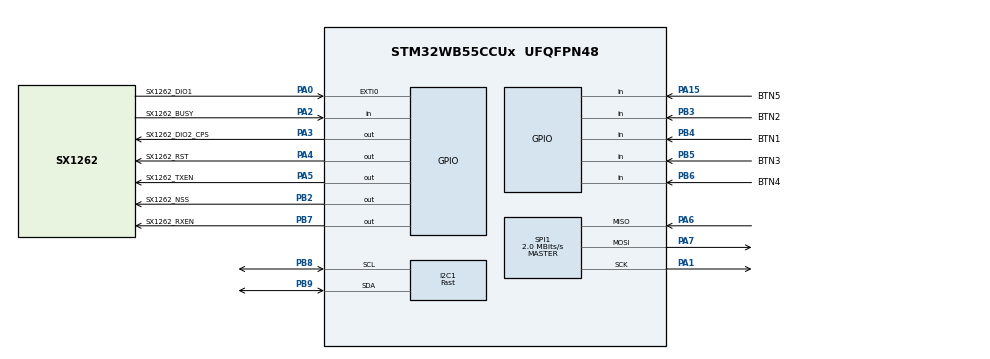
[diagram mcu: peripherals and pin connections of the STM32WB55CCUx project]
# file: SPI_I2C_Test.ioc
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I2C1.I2C_Speed_Mode=I2C_Fast
I2C1.Timing=0x00000003
Mcu.Family=STM32WB
Mcu.Name=STM32WB55CCUx
Mcu.Package=UFQFPN48
NVIC.PriorityGroup=NVIC_PRIORITYGROUP_4
OSC_IN.Mode=HSE-External-Oscillator
OSC_IN.Signal=RCC_OSC_IN
OSC_OUT.Mode=HSE-External-Oscillator
OSC_OUT.Signal=RCC_OSC_OUT
PA0.GPIO_Label=SX1262_DIO1
PA0.Signal=GPXTI0
PA1.Mode=Full_Duplex_Master
PA1.Signal=SPI1_SCK
PA15.GPIO_Label=BTN5
PA15.Signal=GPIO_Input
PA2.GPIO_Label=SX1262_BUSY
PA2.Signal=GPIO_Input
PA3.GPIO_Label=SX1262_DIO2_CPS
PA3.Signal=GPIO_Output
PA4.GPIO_Label=SX1262_RST
PA4.PinState=GPIO_PIN_SET
PA4.Signal=GPIO_Output
PA5.GPIO_Label=SX1262_TXEN
PA5.Signal=GPIO_Output
PA6.Mode=Full_Duplex_Master
PA6.Signal=SPI1_MISO
PA7.Mode=Full_Duplex_Master
PA7.Signal=SPI1_MOSI
PB2.GPIO_Label=SX1262_NSS
PB2.PinState=GPIO_PIN_SET
PB2.Signal=GPIO_Output
PB3.GPIO_Label=BTN2
PB3.Signal=GPIO_Input
PB4.GPIO_Label=BTN1
PB4.Signal=GPIO_Input
PB5.GPIO_Label=BTN3
PB5.Signal=GPIO_Input
PB6.GPIO_Label=BTN4
PB6.Signal=GPIO_Input
PB7.GPIO_Label=SX1262_RXEN
PB7.Signal=GPIO_Output
PB8.Mode=I2C
PB8.Signal=I2C1_SCL
PB9.Mode=I2C
PB9.Signal=I2C1_SDA
PC14-OSC32_IN.Mode=LSE-External-Oscillator
PC14-OSC32_IN.Signal=RCC_OSC32_IN
PC15-OSC32_OUT.Mode=LSE-External-Oscillator
PC15-OSC32_OUT.Signal=RCC_OSC32_OUT
ProjectManager.HeapSize=0x200
ProjectManager.StackSize=0x400
ProjectManager.TargetToolchain=STM32CubeIDE
RCC.APB3Freq_Value=4000000
RCC.HSE_VALUE=8000000
RCC.HSI48_VALUE=48000000
RCC.HSI_VALUE=16000000
RCC.VCOOutputFreq_Value=32000000
SPI1.CalculateBaudRate=2.0 MBits/s
SPI1.DataSize=SPI_DATASIZE_8BIT
SPI1.Direction=SPI_DIRECTION_2LINES
SPI1.Mode=SPI_MODE_MASTER
SPI1.VirtualType=VM_MASTER
VP_MEMORYMAP_VS_MEMORYMAP.Mode=CurAppReg
board=custom

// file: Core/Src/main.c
/* USER CODE BEGIN Header */
/**
  ******************************************************************************
  * @file           : main.c
  * @brief          : Main program body
  ******************************************************************************
  * @attention
  *
  * Copyright (c) 2026 STMicroelectronics.
  * All rights reserved.
  *
  * This software is licensed under terms that can be found in the LICENSE file
  * in the root directory of this software component.
  * If no LICENSE file comes with this software, it is provided AS-IS.
  *
  ******************************************************************************
  */
/* USER CODE END Header */
#include "main.h"

/* USER CODE BEGIN Includes */
#include "ssd1306.h"
#include "board_sx126x_calls.h"
#include <stdio.h>
/* USER CODE END Includes */

I2C_HandleTypeDef hi2c1;

SPI_HandleTypeDef hspi1;

void SystemClock_Config(void);
void PeriphCommonClock_Config(void);
static void MX_GPIO_Init(void);
static void MX_I2C1_Init(void);
static void MX_SPI1_Init(void);

/* USER CODE BEGIN 0 */
volatile uint8_t display_toggle = 1;
char oled_buffer[24];
int BLE_R = 0;
int BLE_M = 0;
int BLE_Dis = 1;
uint32_t now;
uint32_t last_update = 0;
const uint32_t update_interval = 1000;
/* USER CODE END 0 */

int main(void)
{

  /* MCU Configuration--------------------------------------------------------*/

  /* Reset of all peripherals, Initializes the Flash interface and the Systick. */
  HAL_Init();

  /* Configure the system clock */
  SystemClock_Config();

  /* Configure the peripherals common clocks */
  PeriphCommonClock_Config();

  /* Initialize all configured peripherals */
  MX_GPIO_Init();
  MX_I2C1_Init();
  MX_SPI1_Init();
  /* USER CODE BEGIN 2 */

  // setting up the OLED first so I can display error messages on it
	SSD1306_Init();
	SSD1306_Clear();
	SSD1306_GotoXY(0, 0);
	SSD1306_Puts("SX1262 Debug:", &Font_7x10, 1);
	SSD1306_UpdateScreen();

	if(setup_22dBm_Tx(NULL) != SX126X_STATUS_OK){									// here we call the 22dBm setup and check it returns STATUS OK
		SSD1306_Clear();
		snprintf(oled_buffer, sizeof(oled_buffer), "Error: setup_22dBm_Tx()");		// print an error to the user if STATUS NOT OK
		SSD1306_GotoXY(0,0);
		SSD1306_Puts(oled_buffer, &Font_7x10, 1);
		SSD1306_UpdateScreen();
		while(1){}																	// hold here indefinitely
	}

	if(rfswitch_Tx(NULL) != SX126X_STATUS_OK){										// here we call rfswitch_TX and check it returns STATUS OK
		SSD1306_Clear();
		snprintf(oled_buffer, sizeof(oled_buffer), "Error: rfswitch_Tx()");			// print an error to the user if STATUS NOT OK
		SSD1306_GotoXY(0,0);
		SSD1306_Puts(oled_buffer, &Font_7x10, 1);
		SSD1306_UpdateScreen();
		while(1){}																	// hold here indefinitely
	}

  	HAL_Delay(100);																	// 100ms delay is here to allow the chip some time after config

  	if(sx126x_set_tx_cw(NULL) != SX126X_STATUS_OK){
		SSD1306_Clear();
		snprintf(oled_buffer, sizeof(oled_buffer), "Error: sx126x_set_tx_cw");		// print an error to the user if STATUS NOT OK
		SSD1306_GotoXY(0,0);
		SSD1306_Puts(oled_buffer, &Font_7x10, 1);
		SSD1306_UpdateScreen();
		while(1){}																	// hold here indefinitely
  	}

	rfswitch_Rx(NULL); //turn on the working mode

	SSD1306_Clear();
	snprintf(oled_buffer, sizeof(oled_buffer), "Transmitting ASF");				// display current RF switch state on the OLED
	SSD1306_GotoXY(0,0);
	SSD1306_Puts(oled_buffer, &Font_7x10, 1);
	SSD1306_UpdateScreen();

  /* USER CODE END 2 */

  /* Infinite loop */
  while (1)
  {

	// try this one first, comment it out when not using
/*
	rfswitch_Tx(NULL);																// toggle the internal RF switch state (PN: RTC6603SP)

	SSD1306_Clear();
	snprintf(oled_buffer, sizeof(oled_buffer), "rfswitch_Tx(NULL)");				// display current RF switch state on the OLED
	SSD1306_GotoXY(0,0);
	SSD1306_Puts(oled_buffer, &Font_7x10, 1);
	SSD1306_UpdateScreen();
	HAL_Delay(1000);																// 1 sec delay
*/

																// toggle the internal RF switch to the other state (PN: RTC6603SP)
/*
  	rfswitch_Rx(NULL);

	SSD1306_Clear();
	snprintf(oled_buffer, sizeof(oled_buffer), "rfswitch_Rx(NULL)");				// display current RF switch state on the OLED
	SSD1306_GotoXY(0,0);
	SSD1306_Puts(oled_buffer, &Font_7x10, 1);
	SSD1306_UpdateScreen();
*/
	HAL_Delay(1000);																// 1 sec delay

	  	  // this should do something regardless if the RF switch toggling is the current issue we are having. Toggling the switch state will isolate the RF output from the sx1262 chip from out external RF port on the core1262HF package, so going back and forth
	  	  // between states has to cause a change in the output. If the output power during one of the states is what we were seeing on 10/21 (i.e. the -10 dBm or so of power) and during the other state is the expected +22dBm, then booyah balright! o.w. if one of
	  	  // the states is higher power but not +22dBm then the issue is elsewhere

  }
}

void SystemClock_Config(void)
{
  RCC_OscInitTypeDef RCC_OscInitStruct = {0};
  RCC_ClkInitTypeDef RCC_ClkInitStruct = {0};

  /** Configure the main internal regulator output voltage
  */
  __HAL_PWR_VOLTAGESCALING_CONFIG(PWR_REGULATOR_VOLTAGE_SCALE1);

  /** Initializes the RCC Oscillators according to the specified parameters
  * in the RCC_OscInitTypeDef structure.
  */
  RCC_OscInitStruct.OscillatorType = RCC_OSCILLATORTYPE_HSI|RCC_OSCILLATORTYPE_HSE
                              |RCC_OSCILLATORTYPE_MSI;
  RCC_OscInitStruct.HSEState = RCC_HSE_ON;
  RCC_OscInitStruct.HSIState = RCC_HSI_ON;
  RCC_OscInitStruct.MSIState = RCC_MSI_ON;
  RCC_OscInitStruct.HSICalibrationValue = RCC_HSICALIBRATION_DEFAULT;
  RCC_OscInitStruct.MSICalibrationValue = RCC_MSICALIBRATION_DEFAULT;
  RCC_OscInitStruct.MSIClockRange = RCC_MSIRANGE_6;
  RCC_OscInitStruct.PLL.PLLState = RCC_PLL_NONE;
  if (HAL_RCC_OscConfig(&RCC_OscInitStruct) != HAL_OK)
  {
    Error_Handler();
  }

  /** Configure the SYSCLKSource, HCLK, PCLK1 and PCLK2 clocks dividers
  */
  RCC_ClkInitStruct.ClockType = RCC_CLOCKTYPE_HCLK4|RCC_CLOCKTYPE_HCLK2
                              |RCC_CLOCKTYPE_HCLK|RCC_CLOCKTYPE_SYSCLK
                              |RCC_CLOCKTYPE_PCLK1|RCC_CLOCKTYPE_PCLK2;
  RCC_ClkInitStruct.SYSCLKSource = RCC_SYSCLKSOURCE_MSI;
  RCC_ClkInitStruct.AHBCLKDivider = RCC_SYSCLK_DIV1;
  RCC_ClkInitStruct.APB1CLKDivider = RCC_HCLK_DIV1;
  RCC_ClkInitStruct.APB2CLKDivider = RCC_HCLK_DIV1;
  RCC_ClkInitStruct.AHBCLK2Divider = RCC_SYSCLK_DIV1;
  RCC_ClkInitStruct.AHBCLK4Divider = RCC_SYSCLK_DIV1;

  if (HAL_RCC_ClockConfig(&RCC_ClkInitStruct, FLASH_LATENCY_0) != HAL_OK)
  {
    Error_Handler();
  }
}

void PeriphCommonClock_Config(void)
{
  RCC_PeriphCLKInitTypeDef PeriphClkInitStruct = {0};

  /** Initializes the peripherals clock
  */
  PeriphClkInitStruct.PeriphClockSelection = RCC_PERIPHCLK_SMPS;
  PeriphClkInitStruct.SmpsClockSelection = RCC_SMPSCLKSOURCE_HSI;
  PeriphClkInitStruct.SmpsDivSelection = RCC_SMPSCLKDIV_RANGE1;

  if (HAL_RCCEx_PeriphCLKConfig(&PeriphClkInitStruct) != HAL_OK)
  {
    Error_Handler();
  }
}

static void MX_I2C1_Init(void)
{

  hi2c1.Instance = I2C1;
  hi2c1.Init.Timing = 0x00000003;
  hi2c1.Init.OwnAddress1 = 0;
  hi2c1.Init.AddressingMode = I2C_ADDRESSINGMODE_7BIT;
  hi2c1.Init.DualAddressMode = I2C_DUALADDRESS_DISABLE;
  hi2c1.Init.OwnAddress2 = 0;
  hi2c1.Init.OwnAddress2Masks = I2C_OA2_NOMASK;
  hi2c1.Init.GeneralCallMode = I2C_GENERALCALL_DISABLE;
  hi2c1.Init.NoStretchMode = I2C_NOSTRETCH_DISABLE;
  if (HAL_I2C_Init(&hi2c1) != HAL_OK)
  {
    Error_Handler();
  }

  /** Configure Analogue filter
  */
  if (HAL_I2CEx_ConfigAnalogFilter(&hi2c1, I2C_ANALOGFILTER_ENABLE) != HAL_OK)
  {
    Error_Handler();
  }

  /** Configure Digital filter
  */
  if (HAL_I2CEx_ConfigDigitalFilter(&hi2c1, 0) != HAL_OK)
  {
    Error_Handler();
  }

}

static void MX_SPI1_Init(void)
{

  /* SPI1 parameter configuration*/
  hspi1.Instance = SPI1;
  hspi1.Init.Mode = SPI_MODE_MASTER;
  hspi1.Init.Direction = SPI_DIRECTION_2LINES;
  hspi1.Init.DataSize = SPI_DATASIZE_8BIT;
  hspi1.Init.CLKPolarity = SPI_POLARITY_LOW;
  hspi1.Init.CLKPhase = SPI_PHASE_1EDGE;
  hspi1.Init.NSS = SPI_NSS_SOFT;
  hspi1.Init.BaudRatePrescaler = SPI_BAUDRATEPRESCALER_2;
  hspi1.Init.FirstBit = SPI_FIRSTBIT_MSB;
  hspi1.Init.TIMode = SPI_TIMODE_DISABLE;
  hspi1.Init.CRCCalculation = SPI_CRCCALCULATION_DISABLE;
  hspi1.Init.CRCPolynomial = 7;
  hspi1.Init.CRCLength = SPI_CRC_LENGTH_DATASIZE;
  hspi1.Init.NSSPMode = SPI_NSS_PULSE_ENABLE;
  if (HAL_SPI_Init(&hspi1) != HAL_OK)
  {
    Error_Handler();
  }

}

static void MX_GPIO_Init(void)
{
  GPIO_InitTypeDef GPIO_InitStruct = {0};

  /* GPIO Ports Clock Enable */
  __HAL_RCC_GPIOC_CLK_ENABLE();
  __HAL_RCC_GPIOB_CLK_ENABLE();
  __HAL_RCC_GPIOA_CLK_ENABLE();

  /*Configure GPIO pin Output Level */
  HAL_GPIO_WritePin(GPIOA, SX1262_DIO2_CPS_Pin|SX1262_TXEN_Pin, GPIO_PIN_RESET);

  /*Configure GPIO pin Output Level */
  HAL_GPIO_WritePin(SX1262_RST_GPIO_Port, SX1262_RST_Pin, GPIO_PIN_SET);

  /*Configure GPIO pin Output Level */
  HAL_GPIO_WritePin(SX1262_NSS_GPIO_Port, SX1262_NSS_Pin, GPIO_PIN_SET);

  /*Configure GPIO pin Output Level */
  HAL_GPIO_WritePin(SX1262_RXEN_GPIO_Port, SX1262_RXEN_Pin, GPIO_PIN_RESET);

  /*Configure GPIO pin : SX1262_DIO1_Pin */
  GPIO_InitStruct.Pin = SX1262_DIO1_Pin;
  GPIO_InitStruct.Mode = GPIO_MODE_IT_RISING;
  GPIO_InitStruct.Pull = GPIO_NOPULL;
  HAL_GPIO_Init(SX1262_DIO1_GPIO_Port, &GPIO_InitStruct);

  /*Configure GPIO pins : SX1262_BUSY_Pin BTN5_Pin */
  GPIO_InitStruct.Pin = SX1262_BUSY_Pin|BTN5_Pin;
  GPIO_InitStruct.Mode = GPIO_MODE_INPUT;
  GPIO_InitStruct.Pull = GPIO_NOPULL;
  HAL_GPIO_Init(GPIOA, &GPIO_InitStruct);

  /*Configure GPIO pins : SX1262_DIO2_CPS_Pin SX1262_RST_Pin SX1262_TXEN_Pin */
  GPIO_InitStruct.Pin = SX1262_DIO2_CPS_Pin|SX1262_RST_Pin|SX1262_TXEN_Pin;
  GPIO_InitStruct.Mode = GPIO_MODE_OUTPUT_PP;
  GPIO_InitStruct.Pull = GPIO_NOPULL;
  GPIO_InitStruct.Speed = GPIO_SPEED_FREQ_LOW;
  HAL_GPIO_Init(GPIOA, &GPIO_InitStruct);

  /*Configure GPIO pins : SX1262_NSS_Pin SX1262_RXEN_Pin */
  GPIO_InitStruct.Pin = SX1262_NSS_Pin|SX1262_RXEN_Pin;
  GPIO_InitStruct.Mode = GPIO_MODE_OUTPUT_PP;
  GPIO_InitStruct.Pull = GPIO_NOPULL;
  GPIO_InitStruct.Speed = GPIO_SPEED_FREQ_LOW;
  HAL_GPIO_Init(GPIOB, &GPIO_InitStruct);

  /*Configure GPIO pins : BTN2_Pin BTN1_Pin BTN3_Pin BTN4_Pin */
  GPIO_InitStruct.Pin = BTN2_Pin|BTN1_Pin|BTN3_Pin|BTN4_Pin;
  GPIO_InitStruct.Mode = GPIO_MODE_INPUT;
  GPIO_InitStruct.Pull = GPIO_NOPULL;
  HAL_GPIO_Init(GPIOB, &GPIO_InitStruct);

}

void Error_Handler(void)
{
  __disable_irq();
  while (1)
  {
  }
}
